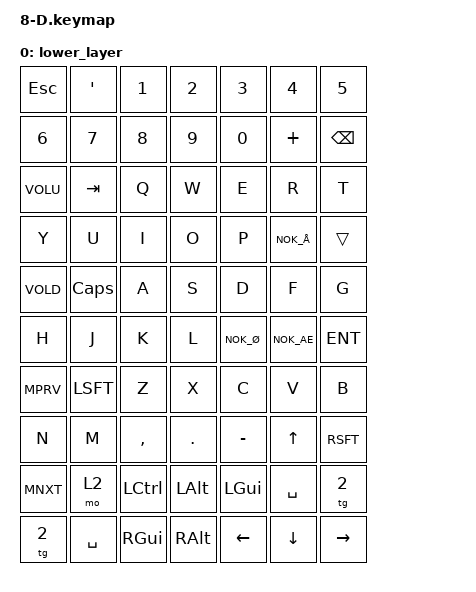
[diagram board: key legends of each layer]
/*
 * Copyright (c) 2020 The ZMK Contributors
 *
 * SPDX-License-Identifier: MIT
 */

#include <behaviors.dtsi>
#include <dt-bindings/zmk/keys.h>
#include <dt-bindings/zmk/bt.h>

 / {
    keymap {
        compatible = "zmk,keymap";

        /* -------------------------------------------------------------
         * lower_layer: 5 rows x 14 keys (7 left + 7 right)
         *
         * Left half:
         * Row 1: ESC,    ',    1,   2,   3,   4,   5
         * Row 2: VOLU,  Tab,   Q,   W,   E,   R,   T
         * Row 3: VOLD,  Caps,  A,   S,   D,   F,   G
         * Row 4: MPRV,  LShift,Z,   X,   C,   V,   B
         * Row 5: MNXT,  fn (&mo 2), contrll, option, command, space, layer key (&tg 2)
         *
         * Right half:
         * Row 1: 6,    7,    8,   9,   0,   +,    backspace
         * Row 2: Y,    U,    I,   O,   P,   Å,    (blank, &trans)
         * Row 3: H,    J,    K,   L,   Ø,   Æ,    ENTER
         * Row 4: N,    M,    , (comma), . (dot), - (minus), uparrow, rshift
         * Row 5: layer key (&tg 2), space, CMD (RGUI), option (RALT), leftarrow, downarrow, rightarrow
         * ------------------------------------------------------------- */
        lower_layer {
            bindings = <
                /* Row 1 */
                &kp ESC   &kp QUOT  &kp 1   &kp 2   &kp 3   &kp 4   &kp 5
                &kp 6     &kp 7     &kp 8   &kp 9   &kp 0   &kp PLUS &kp BSPC

                /* Row 2 */
                &kp VOLU  &kp TAB   &kp Q   &kp W   &kp E   &kp R   &kp T
                &kp Y     &kp U     &kp I   &kp O   &kp P   &kp NOK_Å &trans

                /* Row 3 */
                &kp VOLD  &kp CAPS  &kp A   &kp S   &kp D   &kp F   &kp G
                &kp H     &kp J     &kp K   &kp L   &kp NOK_Ø &kp NOK_AE &kp ENT

                /* Row 4 */
                &kp MPRV  &kp LSFT  &kp Z   &kp X   &kp C   &kp V   &kp B
                &kp N     &kp M     &kp COMMA &kp DOT &kp MINUS &kp UP  &kp RSFT

                /* Row 5 */
                &kp MNXT  &mo 2    &kp LCTRL &kp LALT &kp LGUI &kp SPACE &tg 2
                &tg 2    &kp SPACE &kp RGUI &kp RALT &kp LEFT &kp DOWN &kp RIGHT
            >;
        };
    };
 };
